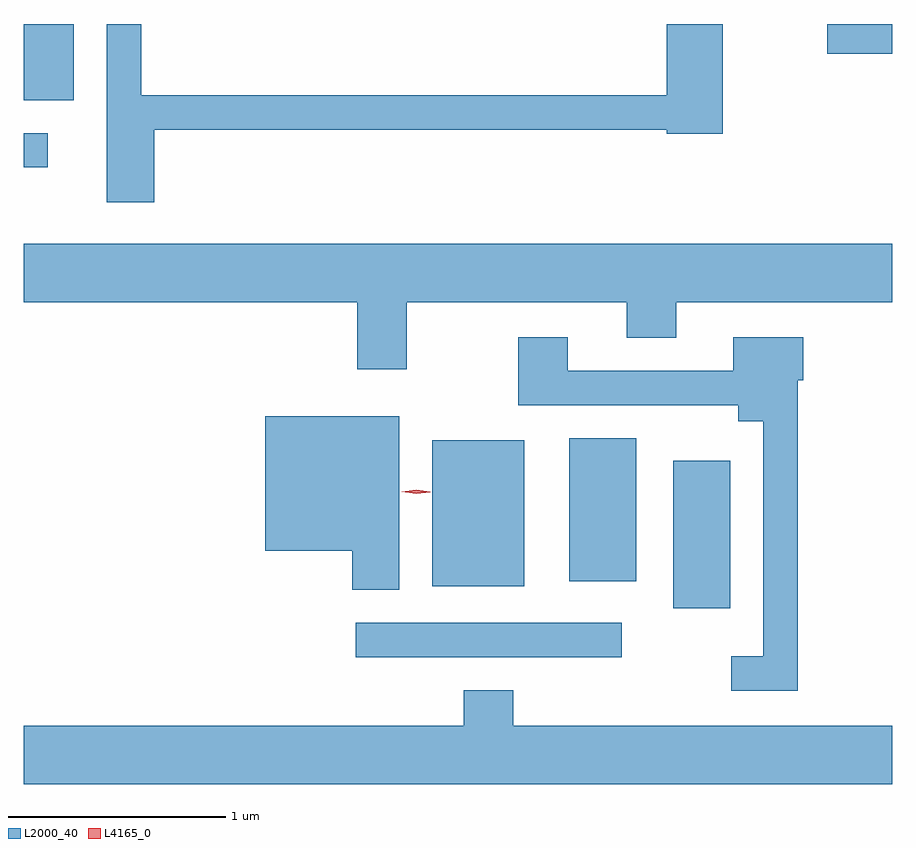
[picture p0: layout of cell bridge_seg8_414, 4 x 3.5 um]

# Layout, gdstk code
import gdstk
lib = gdstk.Library(unit=1e-6, precision=1e-09)
def R(c, l, rs):  # rectangles x0, y0, x1, y1
    for r in rs: c.add(gdstk.rectangle(r[:2], r[2:], *l))
def P(c, l, *ps):  # polygons
    for p in ps: c.add(gdstk.Polygon(p, *l))
L2000_40 = (2000, 40)
L4165_0 = (4165, 0)

bridge_seg8_414 = lib.new_cell('bridge_seg8_414')
R(bridge_seg8_414, L2000_40, [(1004.523,1872.521,1005.748,1872.679), (1005.986,1872.746,1006.249,1873.424), (1004.876,1872.846,1005.299,1873.519), (1005.506,1872.871,1005.814,1873.529), (1002.994,1874.776,1003.103,1874.934), (1002.994,1875.086,1003.224,1875.437), (1006.696,1875.301,1006.994,1875.437)])
P(bridge_seg8_414, L2000_40, [(1003.594,1874.951),(1005.956,1874.951),(1005.956,1874.931),(1006.214,1874.931),(1006.214,1875.437),(1005.956,1875.437),(1005.956,1875.109),(1003.534,1875.109),(1003.534,1875.437),(1003.376,1875.437),(1003.376,1874.616),(1003.594,1874.616)],
  [(1004.759,1874.156),(1005.771,1874.156),(1005.771,1873.991),(1005.999,1873.991),(1005.999,1874.156),(1006.994,1874.156),(1006.994,1874.424),(1002.994,1874.424),(1002.994,1874.156),(1004.531,1874.156),(1004.531,1873.846),(1004.759,1873.846)],
  [(1006.559,1873.796),(1006.584,1873.796),(1006.584,1873.994),(1006.261,1873.994),(1006.261,1873.839),(1005.499,1873.839),(1005.499,1873.994),(1005.271,1873.994),(1005.271,1873.681),(1006.286,1873.681),(1006.286,1873.606),(1006.401,1873.606),(1006.401,1872.524),(1006.253,1872.524),(1006.253,1872.366),(1006.559,1872.366)],
  [(1004.724,1873.629),(1004.106,1873.629),(1004.106,1873.011),(1004.506,1873.011),(1004.506,1872.831),(1004.724,1872.831)],
  [(1006.994,1872.204),(1005.249,1872.204),(1005.249,1872.369),(1005.021,1872.369),(1005.021,1872.204),(1002.994,1872.204),(1002.994,1871.936),(1006.994,1871.936)])
P(bridge_seg8_414, L4165_0, [(1004.801,1873.272),(1004.735,1873.282),(1004.735,1873.283),(1004.735,1873.283),(1004.801,1873.292),(1004.866,1873.282),(1004.866,1873.282),(1004.866,1873.281)])

lib.write_gds('bridge_seg8_414.gds')
